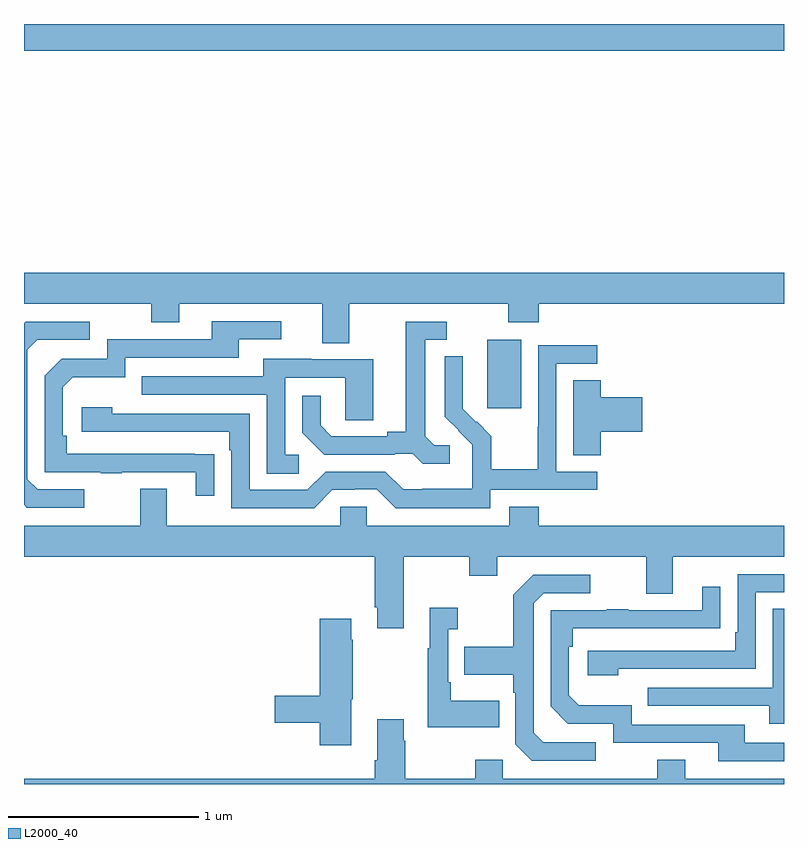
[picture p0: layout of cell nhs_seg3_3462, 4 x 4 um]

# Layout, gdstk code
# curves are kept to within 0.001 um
import gdstk
lib = gdstk.Library(unit=1e-6, precision=1e-09)
def R(c, l, rs):  # rectangles x0, y0, x1, y1
    for r in rs: c.add(gdstk.rectangle(r[:2], r[2:], *l))
def P(c, l, *ps):  # polygons
    for p in ps: c.add(gdstk.Polygon(p, *l))
L2000_40 = (2000, 40)

nhs_seg3_3462 = lib.new_cell('nhs_seg3_3462')
R(nhs_seg3_3462, L2000_40, [(293.438,688.377,293.617,688.738), (291,690.26,295,690.4)])
P(nhs_seg3_3462, L2000_40, [(291,688.928),(291.67,688.928),(291.67,688.829),(291.817,688.829),(291.817,688.928),(292.571,688.928),(292.571,688.72),(292.711,688.72),(292.711,688.928),(293.548,688.928),(293.548,688.829),(293.708,688.829),(293.708,688.928),(295,688.928),(295,689.092),(291,689.092)],
  [(292.001,688.136),(291.224,688.137),(291.224,688.234),(291.204,688.234),(291.204,688.488),(291.257,688.541),(291.534,688.541),(291.534,688.644),(292.129,688.644),(292.129,688.74),(292.354,688.74),(292.354,688.836),(291.989,688.836),(291.989,688.74),(291.438,688.74),(291.438,688.638),(291.198,688.638),(291.108,688.548),(291.108,688.041),(291.403,688.041),(291.403,688.036),(291.515,688.036),(291.515,688.041),(291.905,688.041),(291.905,687.918),(292.001,687.918)],
  [(293.242,688.182),(293.16,688.182),(293.113,688.229),(293.113,688.737),(293.224,688.737),(293.224,688.833),(293.009,688.833),(293.009,688.253),(292.913,688.253),(292.913,688.23),(292.618,688.23),(292.561,688.287),(292.561,688.444),(292.464,688.444),(292.464,688.25),(292.58,688.134),(292.952,688.134),(292.952,688.137),(293.046,688.137),(293.098,688.085),(293.242,688.085)],
  [(291.316,687.951),(291.072,687.951),(291.018,688.005),(291.018,688.686),(291.069,688.737),(291.346,688.737),(291.346,688.833),(291.009,688.833),(291,688.824),(291,687.87),(291.015,687.855),(291.316,687.855)],
  [(293.454,687.948),(294.016,687.948),(294.016,688.044),(293.802,688.044),(293.802,688.611),(294.016,688.611),(294.016,688.71),(293.706,688.71),(293.706,688.28),(293.704,688.28),(293.704,688.057),(293.459,688.057),(293.459,688.231),(293.382,688.308),(293.379,688.305),(293.309,688.376),(293.31,688.652),(293.214,688.652),(293.214,688.334),(293.36,688.186),(293.36,688.089),(293.358,688.089),(293.358,687.955),(293.095,687.955),(293.095,687.951),(292.995,687.951),(292.902,688.044),(292.587,688.044),(292.491,687.948),(292.188,687.948),(292.188,688.35),(291.464,688.35),(291.464,688.384),(291.303,688.384),(291.303,688.254),(292.079,688.254),(292.079,688.157),(292.092,688.157),(292.092,687.852),(292.527,687.852),(292.623,687.948),(292.742,687.948),(292.742,687.951),(292.857,687.951),(292.957,687.851),(293.454,687.851)],
  [(292.447,688.134),(292.374,688.134),(292.374,688.539),(292.692,688.539),(292.692,688.315),(292.837,688.315),(292.837,688.635),(292.513,688.635),(292.513,688.639),(292.259,688.639),(292.259,688.545),(291.619,688.545),(291.619,688.449),(292.278,688.449),(292.278,688.033),(292.447,688.033)],
  [(294.035,688.253),(294.253,688.253),(294.253,688.436),(294.035,688.436),(294.035,688.526),(293.891,688.526),(293.891,688.129),(294.035,688.129)],
  [(292.999,687.596),(293.344,687.596),(293.344,687.497),(293.491,687.497),(293.491,687.596),(294.275,687.596),(294.275,687.402),(294.415,687.402),(294.415,687.596),(295,687.596),(295,687.76),(293.708,687.76),(293.708,687.859),(293.555,687.859),(293.555,687.76),(292.803,687.76),(292.803,687.858),(292.665,687.858),(292.665,687.76),(291.751,687.76),(291.751,687.955),(291.611,687.955),(291.611,687.76),(291,687.76),(291,687.596),(292.847,687.596),(292.847,687.331),(292.859,687.331),(292.859,687.219),(292.999,687.219)],
  [(294.128,687.006),(294.852,687.006),(294.852,687.408),(295,687.408),(295,687.504),(294.756,687.504),(294.756,687.199),(294.743,687.199),(294.743,687.102),(293.967,687.102),(293.967,686.972),(294.128,686.972)],
  [(294.01,686.619),(293.733,686.619),(293.682,686.67),(293.682,687.351),(293.736,687.405),(293.98,687.405),(293.98,687.501),(293.679,687.501),(293.574,687.395),(293.574,687.123),(293.317,687.123),(293.317,686.975),(293.574,686.975),(293.574,686.879),(293.586,686.879),(293.586,686.61),(293.673,686.523),(294.01,686.523)],
  [(295,686.616),(294.793,686.616),(294.793,686.712),(294.198,686.712),(294.198,686.815),(293.921,686.815),(293.868,686.868),(293.868,687.122),(293.888,687.122),(293.888,687.219),(294.665,687.22),(294.665,687.439),(294.569,687.439),(294.569,687.315),(294.179,687.315),(294.179,687.32),(294.067,687.32),(294.067,687.315),(293.772,687.315),(293.772,686.808),(293.862,686.718),(294.102,686.718),(294.102,686.616),(294.653,686.616),(294.653,686.52),(295,686.52)],
  [(293.501,686.839),(293.245,686.839),(293.245,686.935),(293.232,686.935),(293.232,687.215),(293.284,687.215),(293.284,687.328),(293.135,687.328),(293.135,687.115),(293.124,687.115),(293.124,686.699),(293.501,686.699)],
  [(295,687.323),(294.942,687.323),(294.942,686.907),(294.283,686.907),(294.283,686.811),(294.923,686.811),(294.923,686.717),(295,686.717)],
  [(292.723,686.847),(292.731,686.847),(292.731,687.158),(292.723,687.158),(292.723,687.271),(292.556,687.271),(292.556,686.864),(292.32,686.864),(292.32,686.722),(292.556,686.722),(292.556,686.604),(292.723,686.604)],
  [(295,686.428),(294.481,686.428),(294.481,686.527),(294.334,686.527),(294.334,686.428),(293.52,686.428),(293.52,686.527),(293.374,686.527),(293.374,686.428),(293.007,686.428),(293.007,686.627),(292.999,686.627),(292.999,686.74),(292.859,686.74),(292.859,686.524),(292.847,686.524),(292.847,686.428),(291,686.428),(291,686.4),(295,686.4)])

lib.write_gds('nhs_seg3_3462.gds')
